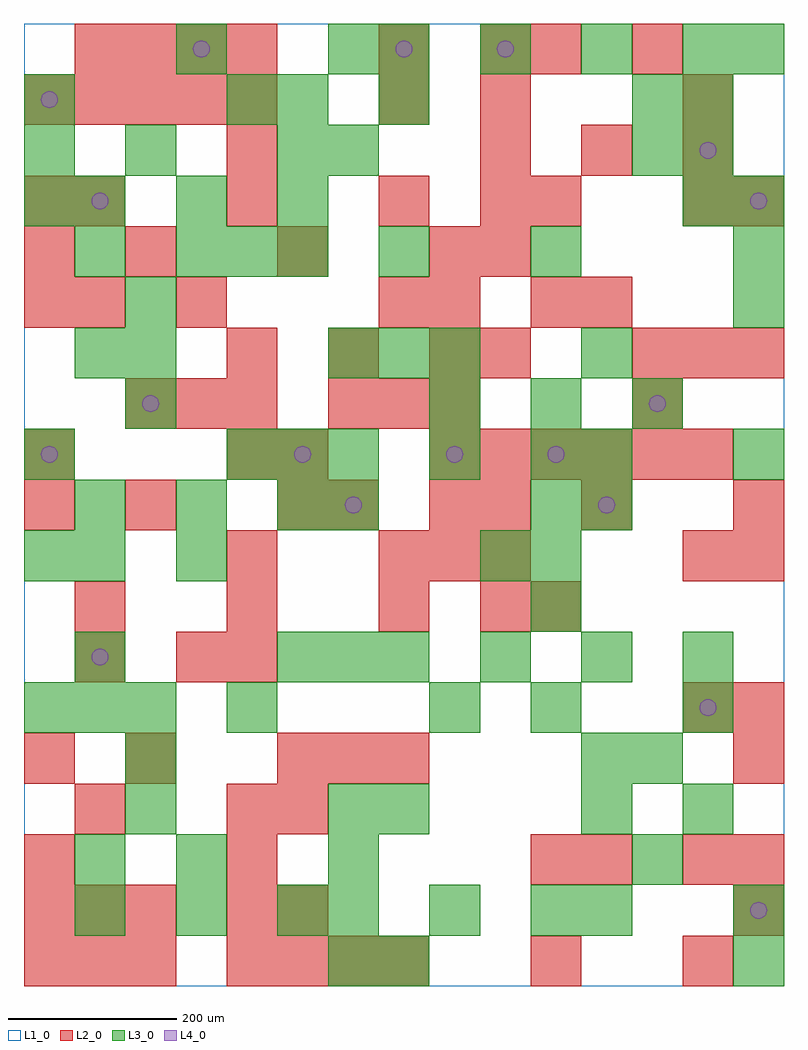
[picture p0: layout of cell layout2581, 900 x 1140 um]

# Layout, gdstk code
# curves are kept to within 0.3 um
import gdstk
lib = gdstk.Library(unit=1e-6, precision=1e-09)
def R(c, l, rs):  # rectangles x0, y0, x1, y1
    for r in rs: c.add(gdstk.rectangle(r[:2], r[2:], *l))
def A(c, l, x, y, w, h, nx, ny, dx, dy):  # array of equal rectangles
    R(c, l, [(x+i*dx, y+j*dy, x+i*dx+w, y+j*dy+h) for i in range(nx) for j in range(ny)])
def P(c, l, *ps):  # polygons
    for p in ps: c.add(gdstk.Polygon(p, *l))
L1_0 = (1, 0)
L2_0 = (2, 0)
L3_0 = (3, 0)
L4_0 = (4, 0)

layout2581 = lib.new_cell('layout2581')
R(layout2581, L1_0, [(0,0,900,1140)])
A(layout2581, L2_0, 0, 0, 60, 60, 3, 2, 60, 60)
A(layout2581, L2_0, 240, 0, 60, 60, 4, 1, 60, 0)
A(layout2581, L2_0, 240, 60, 60, 60, 1, 3, 0, 60)
A(layout2581, L2_0, 780, 120, 60, 60, 1, 3, 0, 180)
A(layout2581, L2_0, 300, 240, 60, 60, 3, 1, 60, 0)
A(layout2581, L2_0, 240, 360, 60, 60, 1, 3, 0, 120)
A(layout2581, L2_0, 60, 420, 60, 60, 3, 2, 180, 480)
A(layout2581, L2_0, 420, 480, 60, 60, 3, 1, 60, 0)
A(layout2581, L2_0, 480, 600, 60, 60, 6, 1, 60, 0)
A(layout2581, L2_0, 120, 660, 60, 60, 3, 1, 60, 0)
A(layout2581, L2_0, 360, 660, 60, 60, 3, 1, 60, 0)
A(layout2581, L2_0, 240, 720, 60, 60, 3, 1, 120, 0)
A(layout2581, L2_0, 720, 720, 60, 60, 3, 1, 60, 0)
A(layout2581, L2_0, 0, 780, 60, 60, 1, 3, 0, 60)
A(layout2581, L2_0, 120, 840, 60, 60, 3, 1, 180, 0)
A(layout2581, L2_0, 540, 960, 60, 60, 3, 1, 120, 0)
A(layout2581, L2_0, 0, 1020, 60, 60, 5, 1, 60, 0)
A(layout2581, L2_0, 60, 1080, 60, 60, 4, 1, 60, 0)
R(layout2581, L2_0, [(600,0,660,60), (780,0,840,60), (300,60,360,120), (840,60,900,120), (0,120,60,180), (600,120,660,180), (660,120,720,180), (840,120,900,180), (60,180,120,240), (300,180,360,240), (0,240,60,300), (120,240,180,300), (840,240,900,300), (840,300,900,360), (60,360,120,420), (180,360,240,420), (540,420,600,480), (600,420,660,480), (840,480,900,540), (0,540,60,600), (120,540,180,600), (300,540,360,600), (360,540,420,600), (480,540,540,600), (540,540,600,600), (660,540,720,600), (840,540,900,600), (0,600,60,660), (300,600,360,660), (720,660,780,720), (540,720,600,780), (60,780,120,840), (180,780,240,840), (420,780,480,840), (480,780,540,840), (600,780,660,840), (660,780,720,840), (540,840,600,900), (540,900,600,960), (600,900,660,960), (780,900,840,960), (840,900,900,960), (240,960,300,1020), (420,1020,480,1080), (540,1020,600,1080), (780,1020,840,1080), (420,1080,480,1140), (540,1080,600,1140), (600,1080,660,1140), (720,1080,780,1140)])
A(layout2581, L3_0, 60, 60, 60, 60, 3, 2, 120, 480)
A(layout2581, L3_0, 360, 60, 60, 60, 3, 1, 120, 0)
A(layout2581, L3_0, 0, 300, 60, 60, 3, 1, 60, 0)
A(layout2581, L3_0, 300, 360, 60, 60, 3, 1, 60, 0)
A(layout2581, L3_0, 540, 360, 60, 60, 3, 1, 120, 0)
A(layout2581, L3_0, 600, 420, 60, 60, 1, 4, 0, 60)
A(layout2581, L3_0, 240, 600, 60, 60, 3, 1, 60, 0)
A(layout2581, L3_0, 120, 660, 60, 60, 1, 3, 0, 60)
A(layout2581, L3_0, 480, 660, 60, 60, 3, 1, 120, 0)
A(layout2581, L3_0, 360, 720, 60, 60, 3, 1, 60, 0)
A(layout2581, L3_0, 840, 780, 60, 60, 1, 3, 0, 60)
A(layout2581, L3_0, 180, 840, 60, 60, 3, 1, 60, 0)
A(layout2581, L3_0, 0, 900, 60, 60, 1, 3, 0, 60)
A(layout2581, L3_0, 60, 900, 60, 60, 3, 1, 120, 0)
A(layout2581, L3_0, 780, 900, 60, 60, 1, 3, 0, 60)
A(layout2581, L3_0, 420, 1080, 60, 60, 4, 1, 120, 0)
R(layout2581, L3_0, [(360,0,420,60), (420,0,480,60), (840,0,900,60), (660,60,720,120), (840,60,900,120), (60,120,120,180), (180,120,240,180), (360,120,420,180), (720,120,780,180), (120,180,180,240), (360,180,420,240), (420,180,480,240), (660,180,720,240), (780,180,840,240), (120,240,180,300), (660,240,720,300), (720,240,780,300), (240,300,300,360), (480,300,540,360), (600,300,660,360), (780,300,840,360), (60,360,120,420), (0,480,60,540), (60,480,120,540), (180,480,240,540), (540,480,600,540), (360,540,420,600), (660,540,720,600), (0,600,60,660), (480,600,540,660), (660,600,720,660), (840,600,900,660), (60,720,120,780), (660,720,720,780), (60,840,120,900), (420,840,480,900), (600,840,660,900), (120,960,180,1020), (300,960,360,1020), (360,960,420,1020), (720,960,780,1020), (240,1020,300,1080), (300,1020,360,1080), (420,1020,480,1080), (720,1020,780,1080), (180,1080,240,1140), (360,1080,420,1140), (840,1080,900,1140)])
P(layout2581, L4_0, [(40,630),(39.239,633.827),(37.071,637.071),(33.827,639.239),(30,640),(26.173,639.239),(22.929,637.071),(20.761,633.827),(20,630),(20.761,626.173),(22.929,622.929),(26.173,620.761),(30,620),(33.827,620.761),(37.071,622.929),(39.239,626.173)],
  [(40,1050),(39.239,1053.827),(37.071,1057.071),(33.827,1059.239),(30,1060),(26.173,1059.239),(22.929,1057.071),(20.761,1053.827),(20,1050),(20.761,1046.173),(22.929,1042.929),(26.173,1040.761),(30,1040),(33.827,1040.761),(37.071,1042.929),(39.239,1046.173)],
  [(100,390),(99.239,393.827),(97.071,397.071),(93.827,399.239),(90,400),(86.173,399.239),(82.929,397.071),(80.761,393.827),(80,390),(80.761,386.173),(82.929,382.929),(86.173,380.761),(90,380),(93.827,380.761),(97.071,382.929),(99.239,386.173)],
  [(100,930),(99.239,933.827),(97.071,937.071),(93.827,939.239),(90,940),(86.173,939.239),(82.929,937.071),(80.761,933.827),(80,930),(80.761,926.173),(82.929,922.929),(86.173,920.761),(90,920),(93.827,920.761),(97.071,922.929),(99.239,926.173)],
  [(160,690),(159.239,693.827),(157.071,697.071),(153.827,699.239),(150,700),(146.173,699.239),(142.929,697.071),(140.761,693.827),(140,690),(140.761,686.173),(142.929,682.929),(146.173,680.761),(150,680),(153.827,680.761),(157.071,682.929),(159.239,686.173)],
  [(220,1110),(219.239,1113.827),(217.071,1117.071),(213.827,1119.239),(210,1120),(206.173,1119.239),(202.929,1117.071),(200.761,1113.827),(200,1110),(200.761,1106.173),(202.929,1102.929),(206.173,1100.761),(210,1100),(213.827,1100.761),(217.071,1102.929),(219.239,1106.173)],
  [(340,630),(339.239,633.827),(337.071,637.071),(333.827,639.239),(330,640),(326.173,639.239),(322.929,637.071),(320.761,633.827),(320,630),(320.761,626.173),(322.929,622.929),(326.173,620.761),(330,620),(333.827,620.761),(337.071,622.929),(339.239,626.173)],
  [(400,570),(399.239,573.827),(397.071,577.071),(393.827,579.239),(390,580),(386.173,579.239),(382.929,577.071),(380.761,573.827),(380,570),(380.761,566.173),(382.929,562.929),(386.173,560.761),(390,560),(393.827,560.761),(397.071,562.929),(399.239,566.173)],
  [(460,1110),(459.239,1113.827),(457.071,1117.071),(453.827,1119.239),(450,1120),(446.173,1119.239),(442.929,1117.071),(440.761,1113.827),(440,1110),(440.761,1106.173),(442.929,1102.929),(446.173,1100.761),(450,1100),(453.827,1100.761),(457.071,1102.929),(459.239,1106.173)],
  [(520,630),(519.239,633.827),(517.071,637.071),(513.827,639.239),(510,640),(506.173,639.239),(502.929,637.071),(500.761,633.827),(500,630),(500.761,626.173),(502.929,622.929),(506.173,620.761),(510,620),(513.827,620.761),(517.071,622.929),(519.239,626.173)],
  [(580,1110),(579.239,1113.827),(577.071,1117.071),(573.827,1119.239),(570,1120),(566.173,1119.239),(562.929,1117.071),(560.761,1113.827),(560,1110),(560.761,1106.173),(562.929,1102.929),(566.173,1100.761),(570,1100),(573.827,1100.761),(577.071,1102.929),(579.239,1106.173)],
  [(640,630),(639.239,633.827),(637.071,637.071),(633.827,639.239),(630,640),(626.173,639.239),(622.929,637.071),(620.761,633.827),(620,630),(620.761,626.173),(622.929,622.929),(626.173,620.761),(630,620),(633.827,620.761),(637.071,622.929),(639.239,626.173)],
  [(700,570),(699.239,573.827),(697.071,577.071),(693.827,579.239),(690,580),(686.173,579.239),(682.929,577.071),(680.761,573.827),(680,570),(680.761,566.173),(682.929,562.929),(686.173,560.761),(690,560),(693.827,560.761),(697.071,562.929),(699.239,566.173)],
  [(760,690),(759.239,693.827),(757.071,697.071),(753.827,699.239),(750,700),(746.173,699.239),(742.929,697.071),(740.761,693.827),(740,690),(740.761,686.173),(742.929,682.929),(746.173,680.761),(750,680),(753.827,680.761),(757.071,682.929),(759.239,686.173)],
  [(820,330),(819.239,333.827),(817.071,337.071),(813.827,339.239),(810,340),(806.173,339.239),(802.929,337.071),(800.761,333.827),(800,330),(800.761,326.173),(802.929,322.929),(806.173,320.761),(810,320),(813.827,320.761),(817.071,322.929),(819.239,326.173)],
  [(820,990),(819.239,993.827),(817.071,997.071),(813.827,999.239),(810,1000),(806.173,999.239),(802.929,997.071),(800.761,993.827),(800,990),(800.761,986.173),(802.929,982.929),(806.173,980.761),(810,980),(813.827,980.761),(817.071,982.929),(819.239,986.173)],
  [(880,90),(879.239,93.827),(877.071,97.071),(873.827,99.239),(870,100),(866.173,99.239),(862.929,97.071),(860.761,93.827),(860,90),(860.761,86.173),(862.929,82.929),(866.173,80.761),(870,80),(873.827,80.761),(877.071,82.929),(879.239,86.173)],
  [(880,930),(879.239,933.827),(877.071,937.071),(873.827,939.239),(870,940),(866.173,939.239),(862.929,937.071),(860.761,933.827),(860,930),(860.761,926.173),(862.929,922.929),(866.173,920.761),(870,920),(873.827,920.761),(877.071,922.929),(879.239,926.173)])

lib.write_gds('layout2581.gds')
